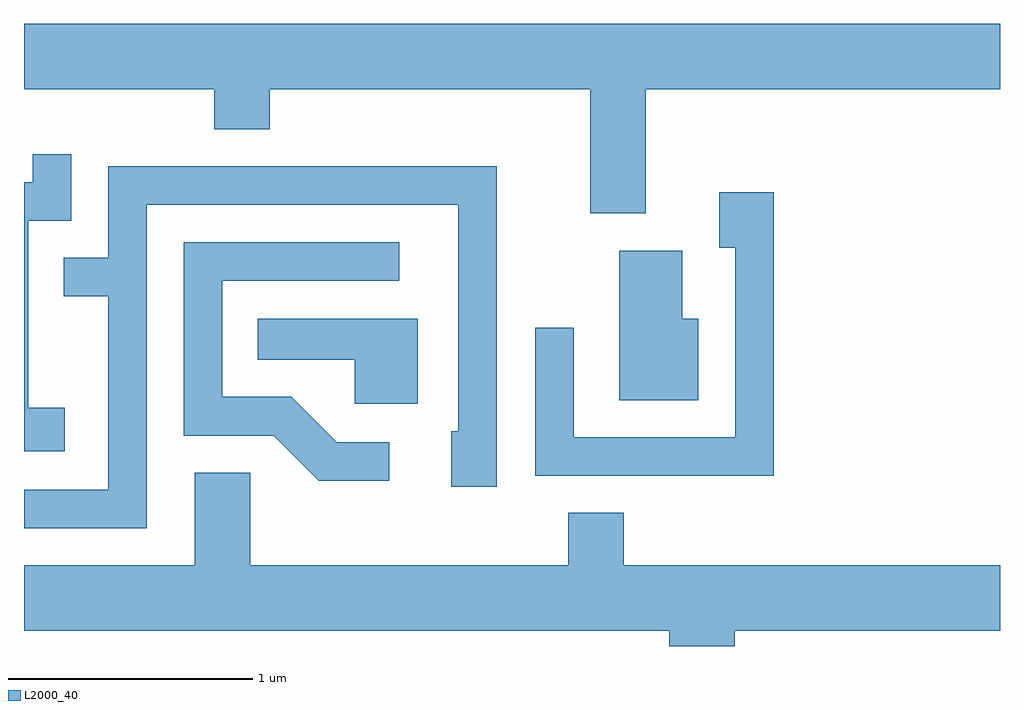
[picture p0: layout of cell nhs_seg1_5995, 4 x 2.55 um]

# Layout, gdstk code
import gdstk
lib = gdstk.Library(unit=1e-6, precision=1e-09)
def P(c, l, *ps):  # polygons
    for p in ps: c.add(gdstk.Polygon(p, *l))
L2000_40 = (2000, 40)

nhs_seg1_5995 = lib.new_cell('nhs_seg1_5995')
P(nhs_seg1_5995, L2000_40, [(368.159,923.996),(369.611,923.996),(369.611,924.264),(365.611,924.264),(365.611,923.996),(366.391,923.996),(366.391,923.831),(366.619,923.831),(366.619,923.996),(367.931,923.996),(367.931,923.486),(368.159,923.486)],
  [(365.779,922.689),(365.629,922.689),(365.629,923.456),(365.804,923.456),(365.804,923.728),(365.646,923.728),(365.646,923.614),(365.611,923.614),(365.611,922.511),(365.779,922.511)],
  [(366.114,923.521),(367.391,923.521),(367.391,922.594),(367.361,922.594),(367.361,922.366),(367.549,922.366),(367.549,923.679),(365.956,923.679),(365.956,923.304),(365.773,923.304),(365.773,923.146),(365.956,923.146),(365.956,922.354),(365.611,922.354),(365.611,922.196),(366.114,922.196)],
  [(368.684,923.574),(368.461,923.574),(368.461,923.346),(368.526,923.346),(368.526,922.569),(367.864,922.569),(367.864,923.018),(367.706,923.018),(367.706,922.411),(368.684,922.411)],
  [(367.108,922.549),(366.892,922.549),(366.707,922.734),(366.424,922.734),(366.424,923.211),(367.148,923.211),(367.148,923.369),(366.266,923.369),(366.266,922.576),(366.634,922.576),(366.819,922.391),(367.108,922.391)],
  [(368.374,923.054),(368.309,923.054),(368.309,923.334),(368.051,923.334),(368.051,922.721),(368.374,922.721)],
  [(367.224,923.054),(366.568,923.054),(366.568,922.886),(366.966,922.886),(366.966,922.706),(367.224,922.706)],
  [(368.524,921.776),(369.611,921.776),(369.611,922.044),(368.069,922.044),(368.069,922.259),(367.841,922.259),(367.841,922.044),(366.539,922.044),(366.539,922.424),(366.311,922.424),(366.311,922.044),(365.611,922.044),(365.611,921.776),(368.256,921.776),(368.256,921.712),(368.524,921.712)])

lib.write_gds('nhs_seg1_5995.gds')
